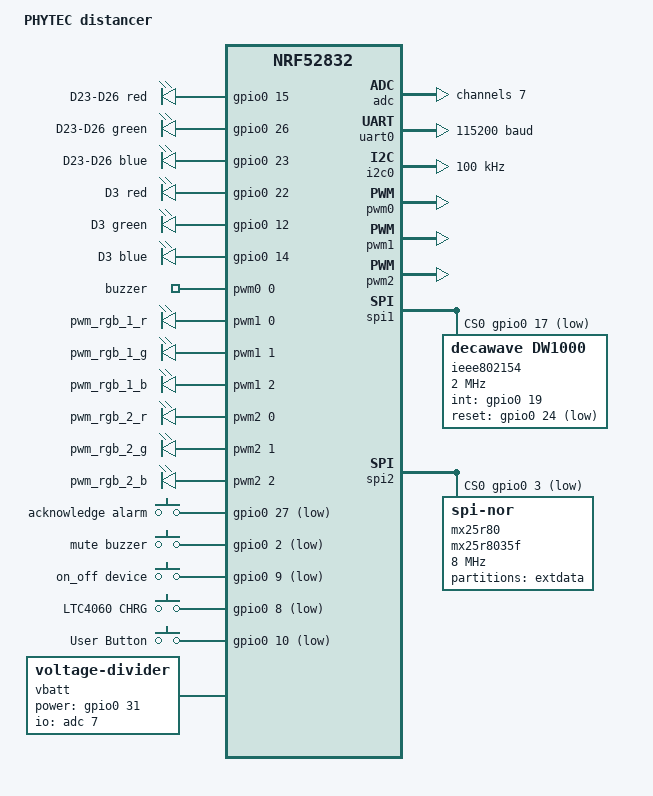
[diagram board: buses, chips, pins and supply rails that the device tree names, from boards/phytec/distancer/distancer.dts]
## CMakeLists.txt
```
# SPDX-License-Identifier: Apache-2.0

cmake_minimum_required(VERSION 3.20.0)

# Make this repository's own board root known before Zephyr resolves the board.
# zephyr/module.yml already does this, but only when the repo is registered as a
# Zephyr module (west workspace). This line keeps `west build -b distancer`
# working after a plain `git clone` into an existing workspace as well.
list(APPEND BOARD_ROOT ${CMAKE_CURRENT_SOURCE_DIR})

find_package(Zephyr REQUIRED HINTS $ENV{ZEPHYR_BASE})
project(distancer_ibeacon)

target_sources(app PRIVATE src/main.c src/leds.c src/battery.c)
```

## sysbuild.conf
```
# Build MCUboot together with the iBeacon image so `west flash` programs a
# bootable device (the board's code-partition lives in slot0).
# SPDX-License-Identifier: Apache-2.0
SB_CONFIG_BOOTLOADER_MCUBOOT=n
```

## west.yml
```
# West manifest for the distancer iBeacon firmware (T2 "workspace application"
# topology). This repository is the manifest repository of its own west
# workspace; Zephyr and its modules are imported below and managed by west as
# sibling projects.
#
#   west init -m https://github.com/MPodolszki/distancer-beacon.git ws
#   cd ws && west update
#   cd distancer-beacon && west build -b distancer .
#
# SPDX-License-Identifier: Apache-2.0

manifest:
  remotes:
    - name: zephyrproject-rtos
      url-base: https://github.com/zephyrproject-rtos

  projects:
    - name: zephyr
      remote: zephyrproject-rtos
      # Pinned to the revision this firmware was built and tested against
      # (v4.4.0-11924-gd316f0266f6d). Bump this to move to a newer Zephyr.
      revision: d316f0266f6d9c742b4d20d50b4b38c0ce89c210
      import:
        # Import Zephyr's module set (HALs, mcuboot, mbedtls, ...) but skip the
        # HALs for vendors this board does not use - they only cost disk and
        # download time.
        name-blocklist:
          - hal_altera
          - hal_espressif
          - hal_gigadevice
          - hal_infineon
          - hal_microchip
          - hal_nuvoton
          - hal_nxp
          - hal_openisa
          - hal_quicklogic
          - hal_renesas
          - hal_rpi_pico
          - hal_silabs
          - hal_st
          - hal_stm32
          - hal_telink
          - hal_ti
          - hal_wch
          - hal_xtensa

  self:
    path: distancer-beacon
```

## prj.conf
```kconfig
# SPDX-License-Identifier: Apache-2.0
#
# iBeacon configuration for the distancer board - low-power production build.
#
# For a build with console output over UART (115200 8N1 on the debug probe's
# virtual COM port), add the debug overlay:
#
#     west build -b distancer . -- -DEXTRA_CONF_FILE=debug.conf

# --- Power -----------------------------------------------------------------
#
# No serial, no logging: the UART peripheral draws current continuously while
# enabled (the receiver stays powered even when nothing is transmitted), which
# is significant next to a beacon that only wakes ~once a second. Zephyr runs
# tickless, so with no console and no stray periodic work the core stays in
# WFI between radio events and LED pulses.
CONFIG_SERIAL=n
CONFIG_CONSOLE=n
CONFIG_UART_CONSOLE=n
CONFIG_LOG=n
CONFIG_PRINTK=n
CONFIG_BOOT_BANNER=n

# Debug aids cost flash and runtime work; leave them to the debug overlay.
CONFIG_ASSERT=n
CONFIG_THREAD_NAME=n

# --- Bluetooth: broadcaster only (no connections needed for a pure beacon) --
CONFIG_BT=y
CONFIG_BT_BROADCASTER=y
CONFIG_BT_DEVICE_NAME="distancer-beacon"

# The device never accepts connections, so drop the peripheral/central roles
# and the connection machinery entirely.
CONFIG_BT_PERIPHERAL=n
CONFIG_BT_CENTRAL=n
CONFIG_BT_OBSERVER=n

# The controller's advanced XTAL/HFCLK startup-timing optimization measures a
# wildly wrong preemption overhead on this board (tens of milliseconds instead
# of microseconds, per its own "Actual EVENT_OVERHEAD_START_US" debug print)
# and trips its internal safety assert (LL_ASSERT_OVERHEAD in lll_adv.c),
# halting the system a few seconds into advertising.
#
# NOTE: BT_CTLR_XTAL_ADVANCED lives behind a "visible if
# BT_CTLR_ADVANCED_FEATURES" menu. That gate has to be enabled first, or
# Kconfig silently ignores the override below and keeps the default (y).
CONFIG_BT_CTLR_ADVANCED_FEATURES=y
# CONFIG_BT_CTLR_XTAL_ADVANCED is not set

# The on/off button switches the device into nRF52 System OFF, from which the
# button itself and the charger line wake it again (via GPIO SENSE, so the
# wake-up is a reset - the application comes back through main()).
CONFIG_POWEROFF=y

# --- Peripherals used by the app -------------------------------------------
CONFIG_GPIO=y

# RGB LEDs are driven over PWM (same module/colours as the distancer app).
CONFIG_PWM=y

# Battery voltage measurement (vbatt voltage-divider node -> ADC).
CONFIG_ADC=y

# Front buttons and the LTC4060 charge-status line are the board's "buttons"
# gpio-keys node. The driver debounces them and reports edges as input events
# (interrupt driven, so an idle device is not polled).
CONFIG_INPUT=y
CONFIG_INPUT_GPIO_KEYS=y

# NOTE: this image is built to run standalone, linked at 0x0 without a
# bootloader.
#
# Chain-loading this application from MCUboot leaves the kernel's RTC timer
# interrupt dead: k_uptime_get() still advances (it reads the counter
# directly), but k_sleep() never returns and k_timer never fires, so the LED
# blink and the status logging never run. This is NOT specific to this
# application - the stock Zephyr samples/basic/blinky shows the same:
#   built standalone                          -> "LED state: ON/OFF" repeats
#   built with SB_CONFIG_BOOTLOADER_MCUBOOT=y -> prints once, then dead
# Re-test that comparison before re-enabling MCUboot here.

# --- Radio: Sendeleistung ---------------------------------------------------
#
# +4 dBm, das Maximum des nRF52832 (hal_radio_tx_power_max_get() in
# radio_nrf52832.h). Mehr gibt der SoC nicht her - alles darueber braeuchte
# ein Front-End-Modul/PA auf der Platine.
#
# HINWEIS zu einem frueheren Versuch: die Einstellung war schon einmal drin und
# wurde wieder entfernt, weil ein A/B-Vergleich am Empfaenger (je ~15 Messwerte
# an unveraenderter Position) fuer 0 dBm und +4 dBm denselben Median von
# -63 dBm ergab. Das war ein Messartefakt - RSSI streut an einem festen Punkt
# durch Mehrwegeausbreitung ohne Weiteres um +-5 dB, da verschwinden 4 dB in
# 15 Samples. Dass die Einstellung durchschlaegt, ist inzwischen am Objektcode
# nachgewiesen: der Aufrufer laedt die Konstante 4 und radio_tx_power_set()
# schreibt daraufhin 0x04 (Pos4dBm) nach RADIO->TXPOWER (0x4000150C).
#
#     arm-zephyr-eabi-objdump -d build/.../zephyr.elf
#     ... movs r0, #4 ; bl <radio_tx_power_set>
#     ... movs r0, #4 ; str.w r0, [r3, #0x50c]   (r3 = 0x40001000)
#
# Wer das erneut in Frage stellt, misst bitte ueber mehrere Positionen und
# Distanzen, nicht an einem Punkt.
#
# Stromverbrauch: der Sendestrom steigt laut Datenblatt von ~5,3 mA auf
# ~7,5 mA (DC/DC, 3 V), aber nur waehrend der wenigen hundert Mikrosekunden
# pro Kanal und Advertising-Event. Neben den LED-Pulsen faellt das nicht ins
# Gewicht.
#
# WICHTIG: IBEACON_RSSI in src/main.c ist auf diesen Wert kalibriert und muss
# mitgezogen werden, sonst schaetzen Empfaenger die Distanz falsch.
CONFIG_BT_CTLR_TX_PWR_PLUS_4=y
```

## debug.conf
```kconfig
# SPDX-License-Identifier: Apache-2.0
#
# Debug overlay: re-enables the UART console on top of the low-power
# production configuration in prj.conf.
#
#     west build -b distancer . -- -DEXTRA_CONF_FILE=debug.conf
#
# Read it with 115200 8N1 on the debug probe's virtual COM port, e.g.
#
#     picocom -b 115200 /dev/ttyACM0
#
# This costs power (the UART stays powered) - do not ship it.

CONFIG_SERIAL=y
CONFIG_CONSOLE=y
CONFIG_UART_CONSOLE=y
CONFIG_PRINTK=y
CONFIG_BOOT_BANNER=y

CONFIG_LOG=y
CONFIG_LOG_BACKEND_UART=y

# Synchronous logging: messages are rendered from the calling thread instead
# of being queued for a background log thread, so nothing is lost or
# truncated when the system faults or hangs.
CONFIG_LOG_MODE_IMMEDIATE=y

CONFIG_ASSERT=y
CONFIG_EXCEPTION_DEBUG=y
CONFIG_THREAD_NAME=y
```

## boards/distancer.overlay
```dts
/*
 * Copyright (c) 2026 PHYTEC Messtechnik GmbH
 *
 * SPDX-License-Identifier: Apache-2.0
 *
 * Board fix-up for the iBeacon application.
 */

/ {
	/*
	 * On the rev 3 hardware the battery sense line runs straight into the
	 * ADC - the 1.5 M / 180 k divider described in the board devicetree is
	 * not populated. Measured on the target: the ADC pin reads the battery
	 * voltage itself (3162 mV), which the 9.33x divider scaling turned into
	 * an impossible 29.5 V.
	 *
	 * Setting full-ohms equal to output-ohms makes the scaling a no-op, so
	 * battery.c reports the measured voltage unchanged.
	 */
	vbatt {
		full-ohms = <180000>;
	};
};
```

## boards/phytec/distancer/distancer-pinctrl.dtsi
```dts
/*
 * Copyright (c) 2020 PHYTEC Messtechnik GmbH
 *
 * SPDX-License-Identifier: Apache-2.0
 *
 * Pin control groups for the distancer board. Translated from the legacy
 * "<peripheral>-pin" devicetree properties (Zephyr <= 2.x) to the pinctrl
 * model used by current Zephyr.
 */

&pinctrl {
	uart0_default: uart0_default {
		group1 {
			psels = <NRF_PSEL(UART_TX, 0, 5)>,
				<NRF_PSEL(UART_RX, 0, 11)>;
		};
	};

	uart0_sleep: uart0_sleep {
		group1 {
			psels = <NRF_PSEL(UART_TX, 0, 5)>,
				<NRF_PSEL(UART_RX, 0, 11)>;
			low-power-enable;
		};
	};

	i2c0_default: i2c0_default {
		group1 {
			psels = <NRF_PSEL(TWIM_SDA, 0, 29)>,
				<NRF_PSEL(TWIM_SCL, 0, 28)>;
			bias-pull-up;
		};
	};

	i2c0_sleep: i2c0_sleep {
		group1 {
			psels = <NRF_PSEL(TWIM_SDA, 0, 29)>,
				<NRF_PSEL(TWIM_SCL, 0, 28)>;
			low-power-enable;
		};
	};

	/* SPI1 -> DW1000 UWB transceiver */
	spi1_default: spi1_default {
		group1 {
			psels = <NRF_PSEL(SPIM_SCK, 0, 16)>,
				<NRF_PSEL(SPIM_MOSI, 0, 20)>,
				<NRF_PSEL(SPIM_MISO, 0, 18)>;
		};
	};

	spi1_sleep: spi1_sleep {
		group1 {
			psels = <NRF_PSEL(SPIM_SCK, 0, 16)>,
				<NRF_PSEL(SPIM_MOSI, 0, 20)>,
				<NRF_PSEL(SPIM_MISO, 0, 18)>;
			low-power-enable;
		};
	};

	/* SPI2 -> MX25R8035F external SPI-NOR flash */
	spi2_default: spi2_default {
		group1 {
			psels = <NRF_PSEL(SPIM_SCK, 0, 4)>,
				<NRF_PSEL(SPIM_MOSI, 0, 6)>,
				<NRF_PSEL(SPIM_MISO, 0, 7)>;
		};
	};

	spi2_sleep: spi2_sleep {
		group1 {
			psels = <NRF_PSEL(SPIM_SCK, 0, 4)>,
				<NRF_PSEL(SPIM_MOSI, 0, 6)>,
				<NRF_PSEL(SPIM_MISO, 0, 7)>;
			low-power-enable;
		};
	};

	/* PWM0 -> buzzer */
	pwm0_default: pwm0_default {
		group1 {
			psels = <NRF_PSEL(PWM_OUT0, 0, 13)>;
		};
	};

	pwm0_sleep: pwm0_sleep {
		group1 {
			psels = <NRF_PSEL(PWM_OUT0, 0, 13)>;
			low-power-enable;
		};
	};

	/* PWM1 -> RGB LED 1 (D23-D26) */
	pwm1_default: pwm1_default {
		group1 {
			psels = <NRF_PSEL(PWM_OUT0, 0, 15)>,
				<NRF_PSEL(PWM_OUT1, 0, 26)>,
				<NRF_PSEL(PWM_OUT2, 0, 23)>;
		};
	};

	pwm1_sleep: pwm1_sleep {
		group1 {
			psels = <NRF_PSEL(PWM_OUT0, 0, 15)>,
				<NRF_PSEL(PWM_OUT1, 0, 26)>,
				<NRF_PSEL(PWM_OUT2, 0, 23)>;
			low-power-enable;
		};
	};

	/* PWM2 -> RGB LED 2 (D3) */
	pwm2_default: pwm2_default {
		group1 {
			psels = <NRF_PSEL(PWM_OUT0, 0, 22)>,
				<NRF_PSEL(PWM_OUT1, 0, 12)>,
				<NRF_PSEL(PWM_OUT2, 0, 14)>;
		};
	};

	pwm2_sleep: pwm2_sleep {
		group1 {
			psels = <NRF_PSEL(PWM_OUT0, 0, 22)>,
				<NRF_PSEL(PWM_OUT1, 0, 12)>,
				<NRF_PSEL(PWM_OUT2, 0, 14)>;
			low-power-enable;
		};
	};
};
```

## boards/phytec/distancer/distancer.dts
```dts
/*
 * Copyright (c) 2020 PHYTEC Messtechnik GmbH
 * Copyright (c) 2019 Stéphane D'Alu
 *
 * SPDX-License-Identifier: Apache-2.0
 *
 * PHYTEC distancer (rev 3) - DWM1001-based UWB distancing device.
 * nRF52832-CIAA + DW1000 UWB transceiver + MX25R8035F SPI-NOR flash.
 */

/dts-v1/;
#include <nordic/nrf52832_ciaa.dtsi>
#include "distancer-pinctrl.dtsi"
#include <zephyr/dt-bindings/input/input-event-codes.h>

/ {
	model = "PHYTEC distancer";
	compatible = "phytec,distancer", "decawave,dwm1001",
		     "nordic,nrf52832-ciaa", "nordic,nrf52832";

	chosen {
		zephyr,console        = &uart0;
		zephyr,shell-uart     = &uart0;
		zephyr,uart-mcumgr    = &uart0;
		zephyr,bt-mon-uart    = &uart0;
		zephyr,bt-c2h-uart    = &uart0;
		zephyr,sram           = &sram0;
		zephyr,flash          = &flash0;
		zephyr,code-partition = &slot0_partition;
		zephyr,ieee802154     = &ieee802154;
	};

	leds {
		compatible = "gpio-leds";

		rgb_1_r: rgb_1_r {
			gpios = <&gpio0 15 GPIO_ACTIVE_HIGH>;
			label = "D23-D26 red";
		};
		rgb_1_g: rgb_1_g {
			gpios = <&gpio0 26 GPIO_ACTIVE_HIGH>;
			label = "D23-D26 green";
		};
		rgb_1_b: rgb_1_b {
			gpios = <&gpio0 23 GPIO_ACTIVE_HIGH>;
			label = "D23-D26 blue";
		};
		rgb_2_r: rgb_2_r {
			gpios = <&gpio0 22 GPIO_ACTIVE_HIGH>;
			label = "D3 red";
		};
		rgb_2_g: rgb_2_g {
			gpios = <&gpio0 12 GPIO_ACTIVE_HIGH>;
			label = "D3 green";
		};
		rgb_2_b: rgb_2_b {
			gpios = <&gpio0 14 GPIO_ACTIVE_HIGH>;
			label = "D3 blue";
		};
	};

	/*
	 * The RGB LEDs and the buzzer can alternatively be driven by the PWM
	 * peripherals. The pin assignment intentionally mirrors the gpio-leds
	 * above; only one driver (GPIO or PWM) should be active on a given pin
	 * at a time - this is an application-level decision.
	 */
	pwmleds {
		compatible = "pwm-leds";

		buzzer: buzzer {
			pwms = <&pwm0 0 PWM_KHZ(4) PWM_POLARITY_NORMAL>;
		};
		pwm_rgb_1_r: pwm_rgb_1_r {
			pwms = <&pwm1 0 PWM_MSEC(20) PWM_POLARITY_NORMAL>;
		};
		pwm_rgb_1_g: pwm_rgb_1_g {
			pwms = <&pwm1 1 PWM_MSEC(20) PWM_POLARITY_NORMAL>;
		};
		pwm_rgb_1_b: pwm_rgb_1_b {
			pwms = <&pwm1 2 PWM_MSEC(20) PWM_POLARITY_NORMAL>;
		};
		pwm_rgb_2_r: pwm_rgb_2_r {
			pwms = <&pwm2 0 PWM_MSEC(20) PWM_POLARITY_NORMAL>;
		};
		pwm_rgb_2_g: pwm_rgb_2_g {
			pwms = <&pwm2 1 PWM_MSEC(20) PWM_POLARITY_NORMAL>;
		};
		pwm_rgb_2_b: pwm_rgb_2_b {
			pwms = <&pwm2 2 PWM_MSEC(20) PWM_POLARITY_NORMAL>;
		};
	};

	buttons {
		compatible = "gpio-keys";

		button_ack: button_ack {
			gpios = <&gpio0 27 (GPIO_PULL_UP | GPIO_ACTIVE_LOW)>;
			label = "acknowledge alarm";
			zephyr,code = <INPUT_KEY_0>;
		};
		button_mute: button_mute {
			gpios = <&gpio0 2 (GPIO_PULL_UP | GPIO_ACTIVE_LOW)>;
			label = "mute buzzer";
			zephyr,code = <INPUT_KEY_1>;
		};
		button_onoff: button_onoff {
			gpios = <&gpio0 9 (GPIO_PULL_UP | GPIO_ACTIVE_LOW)>;
			label = "on_off device";
			zephyr,code = <INPUT_KEY_2>;
		};
		chrg: chrg {
			gpios = <&gpio0 8 (GPIO_PULL_UP | GPIO_ACTIVE_LOW)>;
			label = "LTC4060 CHRG";
			zephyr,code = <INPUT_KEY_3>;
		};
		user_button: button_0 {
			gpios = <&gpio0 10 (GPIO_PULL_UP | GPIO_ACTIVE_LOW)>;
			label = "User Button";
			zephyr,code = <INPUT_KEY_4>;
		};
	};

	vbatt {
		compatible = "voltage-divider";
		io-channels = <&adc 7>;
		output-ohms = <180000>;
		full-ohms = <(1500000 + 180000)>;
		power-gpios = <&gpio0 31 0>;
	};

	/* Aliases for compatibility with upstream Zephyr samples. */
	aliases {
		sw0 = &user_button;
		led0 = &rgb_1_r;
		led1 = &rgb_1_g;
		led2 = &rgb_1_b;
		led3 = &rgb_2_r;
		pwm-led0 = &pwm_rgb_1_r;
		watchdog0 = &wdt0;
	};
};

&reg {
	regulator-initial-mode = <NRF5X_REG_MODE_DCDC>;
};

&uicr {
	gpio-as-nreset;
};

&adc {
	status = "okay";
	#address-cells = <1>;
	#size-cells = <0>;

	channel@7 {
		reg = <7>;
		zephyr,gain = "ADC_GAIN_1_6";
		zephyr,reference = "ADC_REF_INTERNAL";
		zephyr,acquisition-time = <ADC_ACQ_TIME(ADC_ACQ_TIME_MICROSECONDS, 40)>;
		zephyr,input-positive = <NRF_SAADC_AIN7>;
		zephyr,resolution = <12>;
	};
};

&gpiote {
	status = "okay";
};

&gpio0 {
	status = "okay";
};

&uart0 {
	status = "okay";
	compatible = "nordic,nrf-uart";
	current-speed = <115200>;
	pinctrl-0 = <&uart0_default>;
	pinctrl-1 = <&uart0_sleep>;
	pinctrl-names = "default", "sleep";
};

&i2c0 {
	compatible = "nordic,nrf-twim";
	status = "okay";
	clock-frequency = <I2C_BITRATE_STANDARD>;
	pinctrl-0 = <&i2c0_default>;
	pinctrl-1 = <&i2c0_sleep>;
	pinctrl-names = "default", "sleep";
};

&pwm0 {
	status = "okay";
	pinctrl-0 = <&pwm0_default>;
	pinctrl-1 = <&pwm0_sleep>;
	pinctrl-names = "default", "sleep";
};

&pwm1 {
	status = "okay";
	pinctrl-0 = <&pwm1_default>;
	pinctrl-1 = <&pwm1_sleep>;
	pinctrl-names = "default", "sleep";
};

&pwm2 {
	status = "okay";
	pinctrl-0 = <&pwm2_default>;
	pinctrl-1 = <&pwm2_sleep>;
	pinctrl-names = "default", "sleep";
};

/* SPI1 -> DW1000 UWB transceiver */
&spi1 {
	compatible = "nordic,nrf-spi";
	status = "okay";
	cs-gpios = <&gpio0 17 GPIO_ACTIVE_LOW>;
	pinctrl-0 = <&spi1_default>;
	pinctrl-1 = <&spi1_sleep>;
	pinctrl-names = "default", "sleep";

	ieee802154: dw1000@0 {
		compatible = "decawave,dw1000";
		reg = <0>;
		spi-max-frequency = <2000000>;
		int-gpios = <&gpio0 19 GPIO_ACTIVE_HIGH>;	/* P0.19 */
		reset-gpios = <&gpio0 24 GPIO_ACTIVE_LOW>;	/* P0.24 */
		status = "okay";
	};
};

/* SPI2 -> MX25R8035F external SPI-NOR flash */
&spi2 {
	compatible = "nordic,nrf-spi";
	status = "okay";
	cs-gpios = <&gpio0 3 GPIO_ACTIVE_LOW>;
	pinctrl-0 = <&spi2_default>;
	pinctrl-1 = <&spi2_sleep>;
	pinctrl-names = "default", "sleep";

	mx25r80: mx25r8035f@0 {
		compatible = "jedec,spi-nor";
		reg = <0>;
		spi-max-frequency = <8000000>;
		size = <0x800000>;
		jedec-id = [c2 28 14];
		status = "okay";

		partitions {
			compatible = "fixed-partitions";
			#address-cells = <1>;
			#size-cells = <1>;

			extdata_partition: partition@0 {
				label = "extdata";
				reg = <0x00000000 0x00002000>;
			};
		};
	};
};

&flash0 {
	partitions {
		compatible = "fixed-partitions";
		#address-cells = <1>;
		#size-cells = <1>;

		boot_partition: partition@0 {
			label = "mcuboot";
			reg = <0x00000000 0xc000>;
		};
		slot0_partition: partition@c000 {
			label = "image-0";
			reg = <0x0000c000 0x32000>;
		};
		slot1_partition: partition@3e000 {
			label = "image-1";
			reg = <0x0003e000 0x32000>;
		};
		scratch_partition: partition@70000 {
			label = "image-scratch";
			reg = <0x00070000 0xa000>;
		};
		storage_partition: partition@7a000 {
			label = "storage";
			reg = <0x0007a000 0x00006000>;
		};
	};
};
```

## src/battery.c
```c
/*
 * Copyright (c) 2018-2019 Peter Bigot Consulting, LLC
 * Copyright (c) 2019 Nordic Semiconductor ASA
 *
 * SPDX-License-Identifier: Apache-2.0
 */

#include <zephyr/kernel.h>
#include <zephyr/init.h>
#include <zephyr/drivers/gpio.h>
#include <zephyr/drivers/adc.h>

#include "battery.h"

#include <zephyr/logging/log.h>
LOG_MODULE_REGISTER(ibeacon_battery);

#define VBATT		DT_PATH(vbatt)

static const struct adc_dt_spec adc = ADC_DT_SPEC_GET_BY_IDX(VBATT, 0);
static const struct gpio_dt_spec power_gpio =
	GPIO_DT_SPEC_GET_OR(VBATT, power_gpios, {0});

/* Resistor divider parameters from the devicetree. */
static const uint32_t output_ohm = DT_PROP(VBATT, output_ohms);
static const uint32_t full_ohm = DT_PROP(VBATT, full_ohms);

static struct adc_sequence adc_seq;
static int16_t raw;
static bool battery_ok;

static int divider_setup(void)
{
	int rc;

	if (!adc_is_ready_dt(&adc)) {
		LOG_ERR("ADC controller not ready");
		return -ENODEV;
	}

	if (power_gpio.port) {
		if (!gpio_is_ready_dt(&power_gpio)) {
			LOG_ERR("Divider power GPIO not ready");
			return -ENODEV;
		}
		rc = gpio_pin_configure_dt(&power_gpio, GPIO_OUTPUT_INACTIVE);
		if (rc != 0) {
			LOG_ERR("Failed to configure divider GPIO: %d", rc);
			return rc;
		}
	}

	rc = adc_channel_setup_dt(&adc);
	if (rc != 0) {
		LOG_ERR("ADC channel setup failed: %d", rc);
		return rc;
	}

	rc = adc_sequence_init_dt(&adc, &adc_seq);
	if (rc != 0) {
		LOG_ERR("ADC sequence init failed: %d", rc);
		return rc;
	}
	adc_seq.buffer = &raw;
	adc_seq.buffer_size = sizeof(raw);
	adc_seq.calibrate = true;

	return 0;
}

static int battery_setup(void)
{
	int rc = divider_setup();

	battery_ok = (rc == 0);
	LOG_DBG("Battery setup: %d %d", rc, battery_ok);
	return rc;
}
SYS_INIT(battery_setup, APPLICATION, CONFIG_APPLICATION_INIT_PRIORITY);

int battery_measure_enable(bool enable)
{
	if (!battery_ok) {
		return -ENOENT;
	}
	if (power_gpio.port) {
		return gpio_pin_set_dt(&power_gpio, enable);
	}
	return 0;
}

int battery_sample_full(struct battery_reading *out)
{
	int rc;
	int32_t val;

	if (!battery_ok) {
		return -ENOENT;
	}

	rc = adc_read_dt(&adc, &adc_seq);
	adc_seq.calibrate = false;
	if (rc != 0) {
		return rc;
	}

	val = raw;
	rc = adc_raw_to_millivolts_dt(&adc, &val);
	if (rc != 0) {
		return rc;
	}

	out->raw = raw;
	out->adc_mV = val;

	/* Scale the divided voltage back to the full battery voltage. */
	if (output_ohm != 0) {
		val = val * (uint64_t)full_ohm / output_ohm;
	}
	out->batt_mV = val;

	LOG_DBG("raw %d ~ %d mV at the pin ~ %d mV battery",
		out->raw, out->adc_mV, out->batt_mV);

	return 0;
}

int battery_sample(void)
{
	struct battery_reading reading;
	int rc = battery_sample_full(&reading);

	if (rc != 0) {
		return rc;
	}

	return reading.batt_mV;
}

void battery_divider_info(uint32_t *full, uint32_t *output)
{
	if (full != NULL) {
		*full = full_ohm;
	}
	if (output != NULL) {
		*output = output_ohm;
	}
}

unsigned int battery_level_pptt(unsigned int batt_mV,
				const struct battery_level_point *curve)
{
	const struct battery_level_point *pb = curve;

	if (batt_mV >= pb->lvl_mV) {
		return pb->lvl_pptt;
	}
	while ((pb->lvl_pptt > 0) && (batt_mV < pb->lvl_mV)) {
		++pb;
	}
	if (batt_mV < pb->lvl_mV) {
		return pb->lvl_pptt;
	}

	const struct battery_level_point *pa = pb - 1;

	return pb->lvl_pptt
	       + ((pa->lvl_pptt - pb->lvl_pptt)
		  * (batt_mV - pb->lvl_mV)
		  / (pa->lvl_mV - pb->lvl_mV));
}
```

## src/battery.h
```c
/*
 * Copyright (c) 2018-2019 Peter Bigot Consulting, LLC
 *
 * SPDX-License-Identifier: Apache-2.0
 */

#ifndef APPLICATION_BATTERY_H_
#define APPLICATION_BATTERY_H_

#include <stdbool.h>
#include <stdint.h>

/** Enable or disable measurement of the battery voltage.
 *
 * @param enable true to enable, false to disable
 *
 * @return zero on success, or a negative error code.
 */
int battery_measure_enable(bool enable);

/** Measure the battery voltage.
 *
 * @return the battery voltage in millivolts, or a negative error code.
 */
int battery_sample(void);

/** Everything one measurement produced, for diagnostics.
 *
 * battery_sample() collapses this to the final millivolt figure. When that
 * figure looks implausible, what is needed is the chain that produced it: a
 * wrong divider in the devicetree, a saturated ADC or a dead sense line all
 * look identical once only the end result is left.
 */
struct battery_reading {
	/** Raw ADC counts. */
	int16_t raw;
	/** Voltage at the ADC pin, before divider scaling. */
	int32_t adc_mV;
	/** Battery voltage, after divider scaling. */
	int32_t batt_mV;
};

/** Measure the battery voltage and report the full measurement chain.
 *
 * @param out filled in on success.
 *
 * @return zero on success, or a negative error code.
 */
int battery_sample_full(struct battery_reading *out);

/** Divider ratio taken from the devicetree, as full_ohms / output_ohms.
 *
 * @param full_ohm receives the total resistance, may be NULL.
 * @param output_ohm receives the sensed leg, may be NULL.
 */
void battery_divider_info(uint32_t *full_ohm, uint32_t *output_ohm);

/** A point in a battery discharge curve sequence. */
struct battery_level_point {
	/** Remaining life at #lvl_mV. */
	uint16_t lvl_pptt;
	/** Battery voltage at #lvl_pptt remaining life. */
	uint16_t lvl_mV;
};

/** Calculate the estimated battery level based on a measured voltage. */
unsigned int battery_level_pptt(unsigned int batt_mV,
				const struct battery_level_point *curve);

#endif /* APPLICATION_BATTERY_H_ */
```

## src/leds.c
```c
/*
 * Copyright (c) 2020-2026 PHYTEC Messtechnik GmbH
 *
 * SPDX-License-Identifier: Apache-2.0
 *
 * RGB LED control, adopted unchanged from the distancer application
 * (distancer-dev/src/leds.c) so both firmwares use identical colours.
 * The iBeacon currently only uses leds_heartbeat_set() (green), for the
 * running indicator and for the charging indication; the remaining colours
 * are kept so future states look the same as on the distancer.
 */

#include <zephyr/kernel.h>
#include <zephyr/drivers/pwm.h>
#include "leds.h"

#include <zephyr/logging/log.h>
LOG_MODULE_REGISTER(ibeacon_leds);

/* Common PWM period used for LED brightness control. */
#define LED_PWM_PERIOD		PWM_USEC(100)

/* RGB LED channels (see board devicetree: pwmleds node). */
static const struct pwm_dt_spec rgb_1_r = PWM_DT_SPEC_GET(DT_NODELABEL(pwm_rgb_1_r));
static const struct pwm_dt_spec rgb_1_g = PWM_DT_SPEC_GET(DT_NODELABEL(pwm_rgb_1_g));
static const struct pwm_dt_spec rgb_1_b = PWM_DT_SPEC_GET(DT_NODELABEL(pwm_rgb_1_b));
static const struct pwm_dt_spec rgb_2_r = PWM_DT_SPEC_GET(DT_NODELABEL(pwm_rgb_2_r));
static const struct pwm_dt_spec rgb_2_g = PWM_DT_SPEC_GET(DT_NODELABEL(pwm_rgb_2_g));
static const struct pwm_dt_spec rgb_2_b = PWM_DT_SPEC_GET(DT_NODELABEL(pwm_rgb_2_b));

/* Set a channel to a duty cycle given as numerator/denominator of the period. */
static int led_set(const struct pwm_dt_spec *led, uint32_t num, uint32_t den)
{
	return pwm_set_dt(led, LED_PWM_PERIOD, (LED_PWM_PERIOD * num) / den);
}

int leds_init(void)
{
	const struct pwm_dt_spec *all[] = {
		&rgb_1_r, &rgb_1_g, &rgb_1_b, &rgb_2_r, &rgb_2_g, &rgb_2_b,
	};

	for (size_t i = 0; i < ARRAY_SIZE(all); i++) {
		if (!pwm_is_ready_dt(all[i])) {
			LOG_ERR("PWM LED channel %u not ready", (unsigned int)i);
			return -ENODEV;
		}
	}

	return 0;
}

static void led_off_timer_handler(struct k_timer *dummy)
{
	leds_ack_set(0, 0);
}
K_TIMER_DEFINE(led_off_timer, led_off_timer_handler, NULL);

int leds_warn_set(int value)
{
	if (value) {
		led_set(&rgb_1_r, 1, 1);
		led_set(&rgb_2_r, 1, 1);
		return 0;
	}
	led_set(&rgb_1_r, 0, 1);
	led_set(&rgb_2_r, 0, 1);
	return 0;
}

int leds_ack_set(int value, uint32_t dur_ms)
{
	if (value) {
		led_set(&rgb_1_r, 1, 1);
		led_set(&rgb_1_g, 1, 1);
		led_set(&rgb_1_b, 1, 1);
		led_set(&rgb_2_r, 1, 1);
		led_set(&rgb_2_g, 1, 1);
		led_set(&rgb_2_b, 1, 1);
		k_timer_start(&led_off_timer, K_MSEC(dur_ms), K_NO_WAIT);
		return 0;
	}
	led_set(&rgb_1_r, 0, 1);
	led_set(&rgb_1_g, 0, 1);
	led_set(&rgb_1_b, 0, 1);
	led_set(&rgb_2_r, 0, 1);
	led_set(&rgb_2_g, 0, 1);
	led_set(&rgb_2_b, 0, 1);
	return 0;
}

int leds_heartbeat_set(int value)
{
	if (value) {
		led_set(&rgb_1_g, 1, 1);
		led_set(&rgb_2_g, 1, 1);
		return 0;
	}
	led_set(&rgb_1_g, 0, 1);
	led_set(&rgb_2_g, 0, 1);
	return 0;
}

int leds_lowbat_set(int value)
{
	if (value) {
		led_set(&rgb_1_r, 1, 1);
		led_set(&rgb_1_g, 1, 4);
		led_set(&rgb_2_r, 1, 1);
		led_set(&rgb_2_g, 1, 4);
		return 0;
	}
	led_set(&rgb_1_r, 0, 1);
	led_set(&rgb_1_g, 0, 1);
	led_set(&rgb_2_r, 0, 1);
	led_set(&rgb_2_g, 0, 1);
	return 0;
}

int leds_update_set(int value)
{
	LOG_INF("set update led");
	if (value) {
		led_set(&rgb_1_b, 1, 4);
		led_set(&rgb_2_b, 1, 4);
		return 0;
	}
	led_set(&rgb_1_b, 0, 1);
	led_set(&rgb_2_b, 0, 1);
	return 0;
}
```

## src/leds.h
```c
/*
 * Copyright (c) 2020-2026 PHYTEC Messtechnik GmbH
 *
 * SPDX-License-Identifier: Apache-2.0
 *
 * RGB LED control for the distancer board.
 *
 * Adopted from the distancer application (distancer-dev/src/leds.c) so that
 * both firmwares use the same colours for the same meaning. The board has two
 * RGB units (D23-D26 and D3) which are always driven together.
 *
 * Colour scheme (as used by the distancer):
 *   heartbeat / charging  green, full brightness
 *   warn                  red, full brightness
 *   lowbat                red full + green 1/4  -> amber
 *   update                blue, 1/4 brightness
 *   ack                   all channels          -> white
 */

#ifndef LEDS_H
#define LEDS_H

#include <stdint.h>

int leds_init(void);

/** Green, full brightness. Used for "running" and for "charging". */
int leds_heartbeat_set(int value);

int leds_warn_set(int value);
int leds_lowbat_set(int value);
int leds_update_set(int value);
int leds_ack_set(int value, uint32_t dur_ms);

#endif /* LEDS_H */
```
